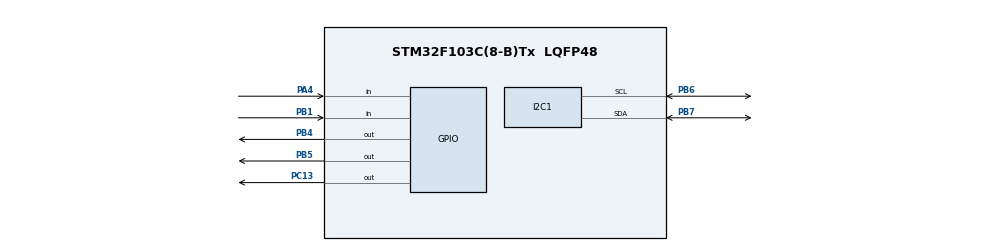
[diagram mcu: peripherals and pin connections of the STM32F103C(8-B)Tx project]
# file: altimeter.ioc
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Mcu.Family=STM32F1
Mcu.Name=STM32F103C(8-B)Tx
Mcu.Package=LQFP48
NVIC.PriorityGroup=NVIC_PRIORITYGROUP_4
PA13.Mode=Serial_Wire
PA13.Signal=SYS_JTMS-SWDIO
PA14.Mode=Serial_Wire
PA14.Signal=SYS_JTCK-SWCLK
PA4.GPIO_PuPd=GPIO_PULLDOWN
PA4.Signal=GPIO_Input
PB1.GPIO_PuPd=GPIO_PULLDOWN
PB1.Signal=GPIO_Input
PB4.GPIO_ModeDefaultOutputPP=GPIO_MODE_OUTPUT_OD
PB4.GPIO_PuPd=GPIO_NOPULL
PB4.Signal=GPIO_Output
PB5.GPIO_ModeDefaultOutputPP=GPIO_MODE_OUTPUT_OD
PB5.GPIO_PuPd=GPIO_NOPULL
PB5.Signal=GPIO_Output
PB6.Mode=I2C
PB6.Signal=I2C1_SCL
PB7.Mode=I2C
PB7.Signal=I2C1_SDA
PC13-TAMPER-RTC.Signal=GPIO_Output
PD0-OSC_IN.Mode=HSE-External-Oscillator
PD0-OSC_IN.Signal=RCC_OSC_IN
PD1-OSC_OUT.Mode=HSE-External-Oscillator
PD1-OSC_OUT.Signal=RCC_OSC_OUT
ProjectManager.HeapSize=0x200
ProjectManager.StackSize=0x400
ProjectManager.TargetToolchain=STM32CubeIDE
RCC.APB1Freq_Value=8000000
RCC.APB2Freq_Value=8000000
board=custom

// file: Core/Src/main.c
/* USER CODE BEGIN Header */
/**
 ******************************************************************************
 * @file           : main.c
 * @brief          : Main program body
 ******************************************************************************
 * @attention
 *
 * Copyright (c) 2025 STMicroelectronics.
 * All rights reserved.
 *
 * This software is licensed under terms that can be found in the LICENSE file
 * in the root directory of this software component.
 * If no LICENSE file comes with this software, it is provided AS-IS.
 *
 ******************************************************************************
 */
/* USER CODE END Header */
#include "main.h"

/* USER CODE BEGIN Includes */
#include "tm1637.h"
#include "bmp280.h"
#include "pc13.h"
#include <stdbool.h>
#include <stdint.h>
/* USER CODE END Includes */

I2C_HandleTypeDef hi2c1;

void SystemClock_Config(void);
static void MX_GPIO_Init(void);

/* USER CODE BEGIN 0 */
/* Returns altitude from sea level pressure difference in meters */
float calculate_altitude_from_sea_level(float sea_level_mb, float current_mb) {
	/* 1 meter elevate change is 0.12mb in pressure */
	return (sea_level_mb - current_mb) / 0.12f;
}
/* USER CODE END 0 */

int main(void)
{

  /* USER CODE BEGIN 1 */
	/* Pressure unit is millibars */
	float sea_pressure = 1013.0f;
	float pressure = 0.0f;

	/* Temperature unit is celsius degrees */
	float temperature = 0.0f;

	/* Altitude unit is meters */
	float altitude = 0;

	/* Error codes for sensor and display failing, error for bit packaging the two errors */
	uint8_t sensor_error = 0;
	uint8_t display_error = 0;
	uint8_t error = 0;

	/* Display mode, can be switched with the button */
	int mode = 0;

	/* Stores HAL's GetTick for  */
	uint32_t current_time = 0;
  /* USER CODE END 1 */

  /* MCU Configuration--------------------------------------------------------*/

  /* Reset of all peripherals, Initializes the Flash interface and the Systick. */
  HAL_Init();

  /* Configure the system clock */
  SystemClock_Config();

  /* Initialize all configured peripherals */
  MX_GPIO_Init();
  MX_I2C1_Init();
  /* USER CODE BEGIN 2 */
  /* Initialize display and sensor */
  display_error = TM1637_SetDisplay(true);
  sensor_error = BMP280_Init();
  /* USER CODE END 2 */

  /* Infinite loop */
	while (1) {

    /* USER CODE BEGIN 3 */
		current_time = HAL_GetTick();
		/* TODO: Add mode switch, button control */

		/* Error code is bit packaged here to blink or show in display */
		error = ((display_error & 0x1) | ((sensor_error & 0x3) << 1)) & 0x7;
		/* Both methods skip if error is 0 so no need for if conditions */
		TM1637_DisplayError(error);
		PC13_DisplayError(current_time, error);

		pressure = BMP280_ReadTemperature(&hi2c1);
		TM1637_DisplayNumber((int) pressure, 0);
	}
  /* USER CODE END 3 */
}

void SystemClock_Config(void)
{
  RCC_OscInitTypeDef RCC_OscInitStruct = {0};
  RCC_ClkInitTypeDef RCC_ClkInitStruct = {0};

  /** Initializes the RCC Oscillators according to the specified parameters
  * in the RCC_OscInitTypeDef structure.
  */
  RCC_OscInitStruct.OscillatorType = RCC_OSCILLATORTYPE_HSI;
  RCC_OscInitStruct.HSIState = RCC_HSI_ON;
  RCC_OscInitStruct.HSICalibrationValue = RCC_HSICALIBRATION_DEFAULT;
  RCC_OscInitStruct.PLL.PLLState = RCC_PLL_NONE;
  if (HAL_RCC_OscConfig(&RCC_OscInitStruct) != HAL_OK)
  {
    Error_Handler();
  }

  /** Initializes the CPU, AHB and APB buses clocks
  */
  RCC_ClkInitStruct.ClockType = RCC_CLOCKTYPE_HCLK|RCC_CLOCKTYPE_SYSCLK
                              |RCC_CLOCKTYPE_PCLK1|RCC_CLOCKTYPE_PCLK2;
  RCC_ClkInitStruct.SYSCLKSource = RCC_SYSCLKSOURCE_HSI;
  RCC_ClkInitStruct.AHBCLKDivider = RCC_SYSCLK_DIV1;
  RCC_ClkInitStruct.APB1CLKDivider = RCC_HCLK_DIV1;
  RCC_ClkInitStruct.APB2CLKDivider = RCC_HCLK_DIV1;

  if (HAL_RCC_ClockConfig(&RCC_ClkInitStruct, FLASH_LATENCY_0) != HAL_OK)
  {
    Error_Handler();
  }
}

void MX_I2C1_Init(void)
{

  hi2c1.Instance = I2C1;
  hi2c1.Init.ClockSpeed = 100000;
  hi2c1.Init.DutyCycle = I2C_DUTYCYCLE_2;
  hi2c1.Init.OwnAddress1 = 0;
  hi2c1.Init.AddressingMode = I2C_ADDRESSINGMODE_7BIT;
  hi2c1.Init.DualAddressMode = I2C_DUALADDRESS_DISABLE;
  hi2c1.Init.OwnAddress2 = 0;
  hi2c1.Init.GeneralCallMode = I2C_GENERALCALL_DISABLE;
  hi2c1.Init.NoStretchMode = I2C_NOSTRETCH_DISABLE;
  if (HAL_I2C_Init(&hi2c1) != HAL_OK)
  {
    Error_Handler();
  }

}

static void MX_GPIO_Init(void)
{
  GPIO_InitTypeDef GPIO_InitStruct = {0};

  /* GPIO Ports Clock Enable */
  __HAL_RCC_GPIOC_CLK_ENABLE();
  __HAL_RCC_GPIOD_CLK_ENABLE();
  __HAL_RCC_GPIOA_CLK_ENABLE();
  __HAL_RCC_GPIOB_CLK_ENABLE();

  /*Configure GPIO pin Output Level */
  HAL_GPIO_WritePin(GPIOC, GPIO_PIN_13, GPIO_PIN_RESET);

  /*Configure GPIO pin Output Level */
  HAL_GPIO_WritePin(GPIOB, GPIO_PIN_4|GPIO_PIN_5, GPIO_PIN_RESET);

  /*Configure GPIO pin : PC13 */
  GPIO_InitStruct.Pin = GPIO_PIN_13;
  GPIO_InitStruct.Mode = GPIO_MODE_OUTPUT_PP;
  GPIO_InitStruct.Pull = GPIO_NOPULL;
  GPIO_InitStruct.Speed = GPIO_SPEED_FREQ_LOW;
  HAL_GPIO_Init(GPIOC, &GPIO_InitStruct);

  /*Configure GPIO pin : PA4 */
  GPIO_InitStruct.Pin = GPIO_PIN_4;
  GPIO_InitStruct.Mode = GPIO_MODE_INPUT;
  GPIO_InitStruct.Pull = GPIO_PULLDOWN;
  HAL_GPIO_Init(GPIOA, &GPIO_InitStruct);

  /*Configure GPIO pin : PB1 */
  GPIO_InitStruct.Pin = GPIO_PIN_1;
  GPIO_InitStruct.Mode = GPIO_MODE_INPUT;
  GPIO_InitStruct.Pull = GPIO_PULLDOWN;
  HAL_GPIO_Init(GPIOB, &GPIO_InitStruct);

  /*Configure GPIO pins : PB4 PB5 */
  GPIO_InitStruct.Pin = GPIO_PIN_4|GPIO_PIN_5;
  GPIO_InitStruct.Mode = GPIO_MODE_OUTPUT_OD;
  GPIO_InitStruct.Pull = GPIO_NOPULL;
  GPIO_InitStruct.Speed = GPIO_SPEED_FREQ_LOW;
  HAL_GPIO_Init(GPIOB, &GPIO_InitStruct);

}

void Error_Handler(void)
{
	__disable_irq();
	while (1) {
	}
}
